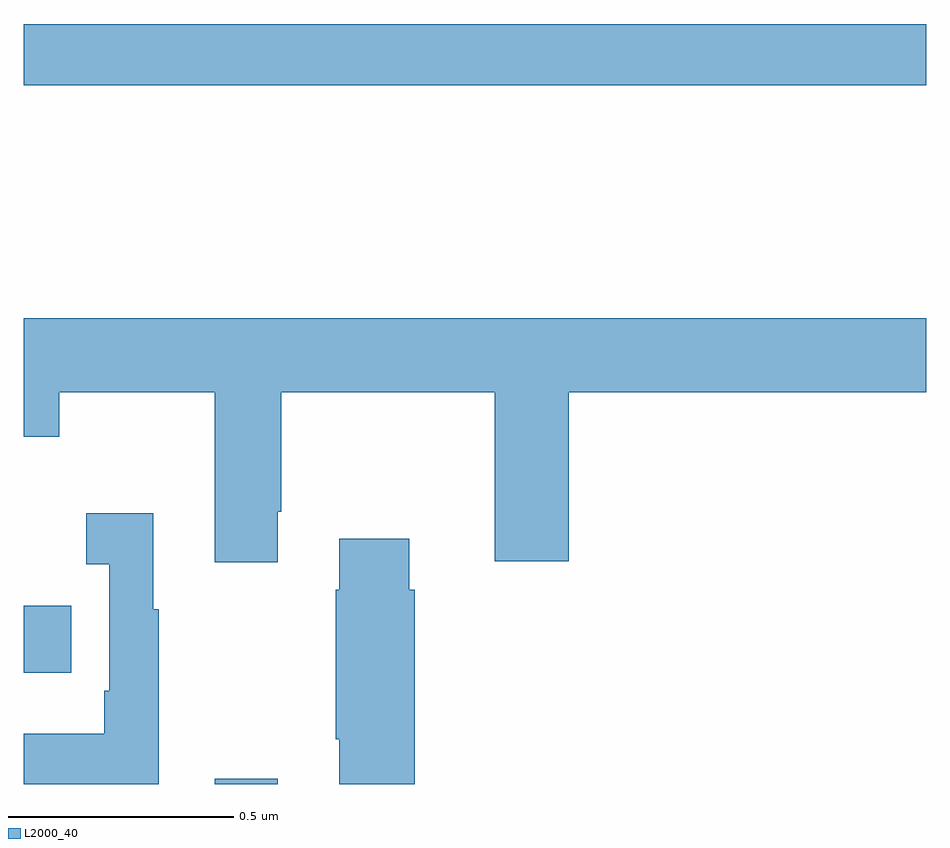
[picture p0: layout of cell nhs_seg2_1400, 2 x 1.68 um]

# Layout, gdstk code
import gdstk
lib = gdstk.Library(unit=1e-6, precision=1e-09)
def R(c, l, rs):  # rectangles x0, y0, x1, y1
    for r in rs: c.add(gdstk.rectangle(r[:2], r[2:], *l))
def P(c, l, *ps):  # polygons
    for p in ps: c.add(gdstk.Polygon(p, *l))
L2000_40 = (2000, 40)

nhs_seg2_1400 = lib.new_cell('nhs_seg2_1400')
R(nhs_seg2_1400, L2000_40, [(128.423,614.8,128.563,614.812), (128,615.047,128.105,615.195), (128,616.348,130,616.484)])
P(nhs_seg2_1400, L2000_40, [(128.563,615.403),(128.571,615.403),(128.571,615.668),(129.044,615.668),(129.044,615.294),(129.208,615.294),(129.208,615.668),(130,615.668),(130,615.832),(128,615.832),(128,615.569),(128.079,615.569),(128.079,615.668),(128.423,615.668),(128.423,615.291),(128.563,615.291)],
  [(128.299,615.187),(128.287,615.187),(128.287,615.4),(128.139,615.4),(128.139,615.287),(128.19,615.287),(128.19,615.007),(128.178,615.007),(128.178,614.911),(128,614.911),(128,614.8),(128.299,614.8)],
  [(128.867,615.23),(128.854,615.23),(128.854,615.343),(128.699,615.343),(128.699,615.23),(128.692,615.23),(128.692,614.899),(128.699,614.899),(128.699,614.8),(128.867,614.8)])

lib.write_gds('nhs_seg2_1400.gds')
